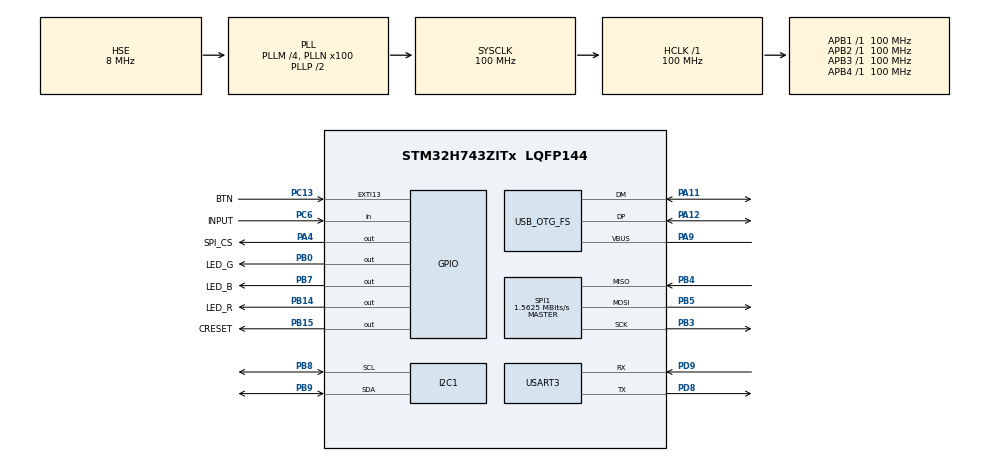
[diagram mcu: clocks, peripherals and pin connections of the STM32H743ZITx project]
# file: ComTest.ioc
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CORTEX_M7.default_mode_Activation=1
Dma.Request0=USART3_RX
Dma.Request1=USART3_TX
Dma.USART3_RX.0.Direction=DMA_PERIPH_TO_MEMORY
Dma.USART3_RX.0.EventEnable=DISABLE
Dma.USART3_RX.0.FIFOMode=DMA_FIFOMODE_DISABLE
Dma.USART3_RX.0.Instance=DMA1_Stream0
Dma.USART3_RX.0.MemDataAlignment=DMA_MDATAALIGN_BYTE
Dma.USART3_RX.0.MemInc=DMA_MINC_ENABLE
Dma.USART3_RX.0.Mode=DMA_NORMAL
Dma.USART3_RX.0.PeriphDataAlignment=DMA_PDATAALIGN_BYTE
Dma.USART3_RX.0.PeriphInc=DMA_PINC_DISABLE
Dma.USART3_RX.0.Polarity=HAL_DMAMUX_REQ_GEN_RISING
Dma.USART3_RX.0.Priority=DMA_PRIORITY_LOW
Dma.USART3_RX.0.RequestNumber=1
Dma.USART3_RX.0.SignalID=NONE
Dma.USART3_RX.0.SyncEnable=DISABLE
Dma.USART3_RX.0.SyncPolarity=HAL_DMAMUX_SYNC_NO_EVENT
Dma.USART3_RX.0.SyncRequestNumber=1
Dma.USART3_RX.0.SyncSignalID=NONE
Dma.USART3_TX.1.Direction=DMA_MEMORY_TO_PERIPH
Dma.USART3_TX.1.EventEnable=DISABLE
Dma.USART3_TX.1.FIFOMode=DMA_FIFOMODE_DISABLE
Dma.USART3_TX.1.Instance=DMA1_Stream1
Dma.USART3_TX.1.MemDataAlignment=DMA_MDATAALIGN_BYTE
Dma.USART3_TX.1.MemInc=DMA_MINC_ENABLE
Dma.USART3_TX.1.Mode=DMA_NORMAL
Dma.USART3_TX.1.PeriphDataAlignment=DMA_PDATAALIGN_BYTE
Dma.USART3_TX.1.PeriphInc=DMA_PINC_DISABLE
Dma.USART3_TX.1.Polarity=HAL_DMAMUX_REQ_GEN_RISING
Dma.USART3_TX.1.Priority=DMA_PRIORITY_LOW
Dma.USART3_TX.1.RequestNumber=1
Dma.USART3_TX.1.SignalID=NONE
Dma.USART3_TX.1.SyncEnable=DISABLE
Dma.USART3_TX.1.SyncPolarity=HAL_DMAMUX_SYNC_NO_EVENT
Dma.USART3_TX.1.SyncRequestNumber=1
Dma.USART3_TX.1.SyncSignalID=NONE
I2C1.Timing=0x10C0ECFF
Mcu.Family=STM32H7
Mcu.Name=STM32H743ZITx
Mcu.Package=LQFP144
NVIC.DMA1_Stream0_IRQn=true\:0\:0\:false\:false\:true\:false\:true\:true
NVIC.DMA1_Stream1_IRQn=true\:0\:0\:false\:false\:true\:false\:true\:true
NVIC.EXTI15_10_IRQn=true\:0\:0\:false\:false\:true\:false\:true\:true
NVIC.OTG_FS_EP1_IN_IRQn=true\:0\:0\:false\:false\:true\:true\:true\:true
NVIC.OTG_FS_EP1_OUT_IRQn=true\:0\:0\:false\:false\:true\:true\:true\:true
NVIC.OTG_FS_IRQn=true\:0\:0\:false\:false\:true\:true\:true\:true
NVIC.PriorityGroup=NVIC_PRIORITYGROUP_4
NVIC.TIM17_IRQn=true\:15\:0\:false\:false\:true\:false\:true\:true
NVIC.TIM2_IRQn=true\:0\:0\:false\:false\:true\:true\:true\:true
NVIC.TimeBase=TIM17_IRQn
NVIC.TimeBaseIP=TIM17
NVIC.USART3_IRQn=true\:0\:0\:false\:false\:true\:true\:true\:true
PA11.Mode=Device_Only
PA11.Signal=USB_OTG_FS_DM
PA12.Mode=Device_Only
PA12.Signal=USB_OTG_FS_DP
PA13\ (JTMS/SWDIO).GPIO_Label=TMS
PA13\ (JTMS/SWDIO).Mode=Serial_Wire
PA13\ (JTMS/SWDIO).Signal=DEBUG_JTMS-SWDIO
PA14\ (JTCK/SWCLK).GPIO_Label=TCK
PA14\ (JTCK/SWCLK).Mode=Serial_Wire
PA14\ (JTCK/SWCLK).Signal=DEBUG_JTCK-SWCLK
PA4.GPIO_Label=SPI_CS
PA4.PinState=GPIO_PIN_SET
PA4.Signal=GPIO_Output
PA9.Mode=Activate_VBUS
PA9.Signal=USB_OTG_FS_VBUS
PB0.GPIO_Label=LED_G
PB0.Signal=GPIO_Output
PB14.GPIO_Label=LED_R
PB14.Signal=GPIO_Output
PB15.GPIO_Label=CRESET
PB15.Signal=GPIO_Output
PB3\ (JTDO/TRACESWO).Mode=Full_Duplex_Master
PB3\ (JTDO/TRACESWO).Signal=SPI1_SCK
PB4\ (NJTRST).Mode=Full_Duplex_Master
PB4\ (NJTRST).Signal=SPI1_MISO
PB5.Mode=Full_Duplex_Master
PB5.Signal=SPI1_MOSI
PB7.GPIO_Label=LED_B
PB7.Signal=GPIO_Output
PB8.Mode=I2C
PB8.Signal=I2C1_SCL
PB9.Mode=I2C
PB9.Signal=I2C1_SDA
PC13.GPIO_Label=BTN
PC13.Signal=GPXTI13
PC14-OSC32_IN\ (OSC32_IN).Signal=RCC_OSC32_IN
PC15-OSC32_OUT\ (OSC32_OUT).Signal=RCC_OSC32_OUT
PC6.GPIO_Label=INPUT
PC6.Signal=GPIO_Input
PD8.Mode=Asynchronous
PD8.Signal=USART3_TX
PD9.Mode=Asynchronous
PD9.Signal=USART3_RX
PH0-OSC_IN\ (PH0).Mode=HSE-External-Clock-Source
PH0-OSC_IN\ (PH0).Signal=RCC_OSC_IN
ProjectManager.HeapSize=0x200
ProjectManager.StackSize=0x400
ProjectManager.TargetToolchain=CMake
RCC.48MHZClocksFreq_Value=24000000
RCC.ADCFreq_Value=100000000
RCC.AHBFreq_Value=216000000
RCC.APB1CLKDivider=RCC_HCLK_DIV4
RCC.APB1Freq_Value=100000000
RCC.APB1TimFreq_Value=108000000
RCC.APB2CLKDivider=RCC_HCLK_DIV2
RCC.APB2Freq_Value=100000000
RCC.APB2TimFreq_Value=216000000
RCC.APB3Freq_Value=100000000
RCC.APB4Freq_Value=100000000
RCC.CortexFreq_Value=100000000
RCC.DIVM1=4
RCC.DIVM2=4
RCC.DIVM3=4
RCC.DIVN1=100
RCC.DIVN2=100
RCC.DIVN3=100
RCC.DIVQ1=4
RCC.HCLKFreq_Value=100000000
RCC.HSE_VALUE=8000000
RCC.HSI_VALUE=64000000
RCC.PLLM=25
RCC.PLLMUL=RCC_PLL_MUL9
RCC.PLLN=432
RCC.PLLQ=9
RCC.PLLSourceVirtual=RCC_PLLSOURCE_HSE
RCC.PRESCALERUSB=RCC_USBCLKSOURCE_PLL_DIV1_5
RCC.PWR_Regulator_Voltage_Scale=PWR_REGULATOR_VOLTAGE_SCALE1
RCC.SYSCLKFreq_VALUE=100000000
RCC.SYSCLKSource=RCC_SYSCLKSOURCE_PLLCLK
RCC.SYSCLKSourceVirtual=RCC_SYSCLKSOURCE_PLLCLK
RCC.USBFreq_Value=50000000
RCC.VCOOutputFreq_Value=432000000
SPI1.BaudRatePrescaler=SPI_BAUDRATEPRESCALER_32
SPI1.CLKPhase=SPI_PHASE_2EDGE
SPI1.CLKPolarity=SPI_POLARITY_HIGH
SPI1.CalculateBaudRate=1.5625 MBits/s
SPI1.DataSize=SPI_DATASIZE_8BIT
SPI1.Direction=SPI_DIRECTION_2LINES
SPI1.Mode=SPI_MODE_MASTER
SPI1.VirtualType=VM_MASTER
USART3.VirtualMode-Asynchronous=VM_ASYNC
USB_OTG_FS.VirtualMode=Device_Only
VP_CRC_VS_CRC.Mode=CRC_Activate
VP_MEMORYMAP_VS_MEMORYMAP.Mode=CurAppReg
VP_RNG_VS_RNG.Mode=RNG_Activate
VP_SYS_VS_tim17.Mode=TIM17
VP_TIM2_VS_ClockSourceINT.Mode=Internal
board=NUCLEO-H743ZI

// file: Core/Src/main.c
/* USER CODE BEGIN Header */
/**
  ******************************************************************************
  * @file           : main.c
  * @brief          : Main program body
  ******************************************************************************
  * @attention
  *
  * Copyright (c) 2026 STMicroelectronics.
  * All rights reserved.
  *
  * This software is licensed under terms that can be found in the LICENSE file
  * in the root directory of this software component.
  * If no LICENSE file comes with this software, it is provided AS-IS.
  *
  ******************************************************************************
  */
/* USER CODE END Header */
#include "main.h"

/* USER CODE BEGIN Includes */
#include "logging.h"
#include "util.h"

#include <stdio.h>

/* USER CODE END Includes */

CRC_HandleTypeDef hcrc;

I2C_HandleTypeDef hi2c1;

RNG_HandleTypeDef hrng;

SPI_HandleTypeDef hspi1;

TIM_HandleTypeDef htim2;

UART_HandleTypeDef huart3;
DMA_HandleTypeDef hdma_usart3_rx;
DMA_HandleTypeDef hdma_usart3_tx;

PCD_HandleTypeDef hpcd_USB_OTG_FS;

void SystemClock_Config(void);
static void MPU_Config(void);
static void MX_GPIO_Init(void);
static void MX_DMA_Init(void);
static void MX_CRC_Init(void);
static void MX_RNG_Init(void);
static void MX_USART3_UART_Init(void);
static void MX_I2C1_Init(void);
static void MX_SPI1_Init(void);
static void MX_USB_OTG_FS_PCD_Init(void);
static void MX_TIM2_Init(void);

int main(void)
{

  /* MPU Configuration--------------------------------------------------------*/
  MPU_Config();

  /* MCU Configuration--------------------------------------------------------*/

  /* Reset of all peripherals, Initializes the Flash interface and the Systick. */
  HAL_Init();

  /* Configure the system clock */
  SystemClock_Config();

  /* Initialize all configured peripherals */
  MX_GPIO_Init();
  MX_DMA_Init();
  MX_CRC_Init();
  MX_RNG_Init();
  MX_USART3_UART_Init();
  MX_I2C1_Init();
  MX_SPI1_Init();
  MX_USB_OTG_FS_PCD_Init();
  MX_TIM2_Init();
  /* USER CODE BEGIN 2 */
  Delay_Init();
  init_dma_logging();
  printf("\033c");
  printf("Communication Protocol Demo\r\n");
  printf("Version: %s\r\n", FW_VERSION_STRING);
  printf("CPU Clock Frequency: %lu MHz\r\n\r\n", HAL_RCC_GetSysClockFreq() / 1000000);

  /* USER CODE END 2 */

  /* Infinite loop */
  while (1)
  {

    /* USER CODE BEGIN 3 */
    HAL_GPIO_TogglePin(LED_G_GPIO_Port, LED_G_Pin);
    HAL_Delay(250);
  }
  /* USER CODE END 3 */
}

void SystemClock_Config(void)
{
  RCC_OscInitTypeDef RCC_OscInitStruct = {0};
  RCC_ClkInitTypeDef RCC_ClkInitStruct = {0};

  /** Supply configuration update enable
  */
  HAL_PWREx_ConfigSupply(PWR_LDO_SUPPLY);

  /** Configure the main internal regulator output voltage
  */
  __HAL_PWR_VOLTAGESCALING_CONFIG(PWR_REGULATOR_VOLTAGE_SCALE1);

  while(!__HAL_PWR_GET_FLAG(PWR_FLAG_VOSRDY)) {}

  /** Initializes the RCC Oscillators according to the specified parameters
  * in the RCC_OscInitTypeDef structure.
  */
  RCC_OscInitStruct.OscillatorType = RCC_OSCILLATORTYPE_HSI48|RCC_OSCILLATORTYPE_HSE;
  RCC_OscInitStruct.HSEState = RCC_HSE_BYPASS;
  RCC_OscInitStruct.HSI48State = RCC_HSI48_ON;
  RCC_OscInitStruct.PLL.PLLState = RCC_PLL_ON;
  RCC_OscInitStruct.PLL.PLLSource = RCC_PLLSOURCE_HSE;
  RCC_OscInitStruct.PLL.PLLM = 4;
  RCC_OscInitStruct.PLL.PLLN = 100;
  RCC_OscInitStruct.PLL.PLLP = 2;
  RCC_OscInitStruct.PLL.PLLQ = 4;
  RCC_OscInitStruct.PLL.PLLR = 2;
  RCC_OscInitStruct.PLL.PLLRGE = RCC_PLL1VCIRANGE_1;
  RCC_OscInitStruct.PLL.PLLVCOSEL = RCC_PLL1VCOWIDE;
  RCC_OscInitStruct.PLL.PLLFRACN = 0;
  if (HAL_RCC_OscConfig(&RCC_OscInitStruct) != HAL_OK)
  {
    Error_Handler();
  }

  /** Initializes the CPU, AHB and APB buses clocks
  */
  RCC_ClkInitStruct.ClockType = RCC_CLOCKTYPE_HCLK|RCC_CLOCKTYPE_SYSCLK
                              |RCC_CLOCKTYPE_PCLK1|RCC_CLOCKTYPE_PCLK2
                              |RCC_CLOCKTYPE_D3PCLK1|RCC_CLOCKTYPE_D1PCLK1;
  RCC_ClkInitStruct.SYSCLKSource = RCC_SYSCLKSOURCE_PLLCLK;
  RCC_ClkInitStruct.SYSCLKDivider = RCC_SYSCLK_DIV1;
  RCC_ClkInitStruct.AHBCLKDivider = RCC_HCLK_DIV1;
  RCC_ClkInitStruct.APB3CLKDivider = RCC_APB3_DIV1;
  RCC_ClkInitStruct.APB1CLKDivider = RCC_APB1_DIV1;
  RCC_ClkInitStruct.APB2CLKDivider = RCC_APB2_DIV1;
  RCC_ClkInitStruct.APB4CLKDivider = RCC_APB4_DIV1;

  if (HAL_RCC_ClockConfig(&RCC_ClkInitStruct, FLASH_LATENCY_1) != HAL_OK)
  {
    Error_Handler();
  }
}

static void MX_CRC_Init(void)
{

  hcrc.Instance = CRC;
  hcrc.Init.DefaultPolynomialUse = DEFAULT_POLYNOMIAL_ENABLE;
  hcrc.Init.DefaultInitValueUse = DEFAULT_INIT_VALUE_ENABLE;
  hcrc.Init.InputDataInversionMode = CRC_INPUTDATA_INVERSION_NONE;
  hcrc.Init.OutputDataInversionMode = CRC_OUTPUTDATA_INVERSION_DISABLE;
  hcrc.InputDataFormat = CRC_INPUTDATA_FORMAT_BYTES;
  if (HAL_CRC_Init(&hcrc) != HAL_OK)
  {
    Error_Handler();
  }

}

static void MX_I2C1_Init(void)
{

  hi2c1.Instance = I2C1;
  hi2c1.Init.Timing = 0x10C0ECFF;
  hi2c1.Init.OwnAddress1 = 0;
  hi2c1.Init.AddressingMode = I2C_ADDRESSINGMODE_7BIT;
  hi2c1.Init.DualAddressMode = I2C_DUALADDRESS_DISABLE;
  hi2c1.Init.OwnAddress2 = 0;
  hi2c1.Init.OwnAddress2Masks = I2C_OA2_NOMASK;
  hi2c1.Init.GeneralCallMode = I2C_GENERALCALL_DISABLE;
  hi2c1.Init.NoStretchMode = I2C_NOSTRETCH_DISABLE;
  if (HAL_I2C_Init(&hi2c1) != HAL_OK)
  {
    Error_Handler();
  }

  /** Configure Analogue filter
  */
  if (HAL_I2CEx_ConfigAnalogFilter(&hi2c1, I2C_ANALOGFILTER_ENABLE) != HAL_OK)
  {
    Error_Handler();
  }

  /** Configure Digital filter
  */
  if (HAL_I2CEx_ConfigDigitalFilter(&hi2c1, 0) != HAL_OK)
  {
    Error_Handler();
  }

}

static void MX_RNG_Init(void)
{

  hrng.Instance = RNG;
  hrng.Init.ClockErrorDetection = RNG_CED_ENABLE;
  if (HAL_RNG_Init(&hrng) != HAL_OK)
  {
    Error_Handler();
  }

}

static void MX_SPI1_Init(void)
{

  /* SPI1 parameter configuration*/
  hspi1.Instance = SPI1;
  hspi1.Init.Mode = SPI_MODE_MASTER;
  hspi1.Init.Direction = SPI_DIRECTION_2LINES;
  hspi1.Init.DataSize = SPI_DATASIZE_8BIT;
  hspi1.Init.CLKPolarity = SPI_POLARITY_HIGH;
  hspi1.Init.CLKPhase = SPI_PHASE_2EDGE;
  hspi1.Init.NSS = SPI_NSS_SOFT;
  hspi1.Init.BaudRatePrescaler = SPI_BAUDRATEPRESCALER_32;
  hspi1.Init.FirstBit = SPI_FIRSTBIT_MSB;
  hspi1.Init.TIMode = SPI_TIMODE_DISABLE;
  hspi1.Init.CRCCalculation = SPI_CRCCALCULATION_DISABLE;
  hspi1.Init.CRCPolynomial = 0x0;
  hspi1.Init.NSSPMode = SPI_NSS_PULSE_ENABLE;
  hspi1.Init.NSSPolarity = SPI_NSS_POLARITY_LOW;
  hspi1.Init.FifoThreshold = SPI_FIFO_THRESHOLD_01DATA;
  hspi1.Init.TxCRCInitializationPattern = SPI_CRC_INITIALIZATION_ALL_ZERO_PATTERN;
  hspi1.Init.RxCRCInitializationPattern = SPI_CRC_INITIALIZATION_ALL_ZERO_PATTERN;
  hspi1.Init.MasterSSIdleness = SPI_MASTER_SS_IDLENESS_00CYCLE;
  hspi1.Init.MasterInterDataIdleness = SPI_MASTER_INTERDATA_IDLENESS_00CYCLE;
  hspi1.Init.MasterReceiverAutoSusp = SPI_MASTER_RX_AUTOSUSP_DISABLE;
  hspi1.Init.MasterKeepIOState = SPI_MASTER_KEEP_IO_STATE_DISABLE;
  hspi1.Init.IOSwap = SPI_IO_SWAP_DISABLE;
  if (HAL_SPI_Init(&hspi1) != HAL_OK)
  {
    Error_Handler();
  }

}

static void MX_TIM2_Init(void)
{

  TIM_ClockConfigTypeDef sClockSourceConfig = {0};
  TIM_MasterConfigTypeDef sMasterConfig = {0};

  htim2.Instance = TIM2;
  htim2.Init.Prescaler = 0;
  htim2.Init.CounterMode = TIM_COUNTERMODE_UP;
  htim2.Init.Period = 4294967295;
  htim2.Init.ClockDivision = TIM_CLOCKDIVISION_DIV1;
  htim2.Init.AutoReloadPreload = TIM_AUTORELOAD_PRELOAD_DISABLE;
  if (HAL_TIM_Base_Init(&htim2) != HAL_OK)
  {
    Error_Handler();
  }
  sClockSourceConfig.ClockSource = TIM_CLOCKSOURCE_INTERNAL;
  if (HAL_TIM_ConfigClockSource(&htim2, &sClockSourceConfig) != HAL_OK)
  {
    Error_Handler();
  }
  sMasterConfig.MasterOutputTrigger = TIM_TRGO_RESET;
  sMasterConfig.MasterSlaveMode = TIM_MASTERSLAVEMODE_DISABLE;
  if (HAL_TIMEx_MasterConfigSynchronization(&htim2, &sMasterConfig) != HAL_OK)
  {
    Error_Handler();
  }

}

static void MX_USART3_UART_Init(void)
{

  huart3.Instance = USART3;
  huart3.Init.BaudRate = 115200;
  huart3.Init.WordLength = UART_WORDLENGTH_8B;
  huart3.Init.StopBits = UART_STOPBITS_1;
  huart3.Init.Parity = UART_PARITY_NONE;
  huart3.Init.Mode = UART_MODE_TX_RX;
  huart3.Init.HwFlowCtl = UART_HWCONTROL_NONE;
  huart3.Init.OverSampling = UART_OVERSAMPLING_16;
  huart3.Init.OneBitSampling = UART_ONE_BIT_SAMPLE_DISABLE;
  huart3.Init.ClockPrescaler = UART_PRESCALER_DIV1;
  huart3.AdvancedInit.AdvFeatureInit = UART_ADVFEATURE_NO_INIT;
  if (HAL_UART_Init(&huart3) != HAL_OK)
  {
    Error_Handler();
  }
  if (HAL_UARTEx_SetTxFifoThreshold(&huart3, UART_TXFIFO_THRESHOLD_1_8) != HAL_OK)
  {
    Error_Handler();
  }
  if (HAL_UARTEx_SetRxFifoThreshold(&huart3, UART_RXFIFO_THRESHOLD_1_8) != HAL_OK)
  {
    Error_Handler();
  }
  if (HAL_UARTEx_DisableFifoMode(&huart3) != HAL_OK)
  {
    Error_Handler();
  }

}

static void MX_USB_OTG_FS_PCD_Init(void)
{

  hpcd_USB_OTG_FS.Instance = USB_OTG_FS;
  hpcd_USB_OTG_FS.Init.dev_endpoints = 9;
  hpcd_USB_OTG_FS.Init.speed = PCD_SPEED_FULL;
  hpcd_USB_OTG_FS.Init.dma_enable = DISABLE;
  hpcd_USB_OTG_FS.Init.phy_itface = PCD_PHY_EMBEDDED;
  hpcd_USB_OTG_FS.Init.Sof_enable = DISABLE;
  hpcd_USB_OTG_FS.Init.low_power_enable = DISABLE;
  hpcd_USB_OTG_FS.Init.lpm_enable = DISABLE;
  hpcd_USB_OTG_FS.Init.battery_charging_enable = ENABLE;
  hpcd_USB_OTG_FS.Init.vbus_sensing_enable = ENABLE;
  hpcd_USB_OTG_FS.Init.use_dedicated_ep1 = DISABLE;
  if (HAL_PCD_Init(&hpcd_USB_OTG_FS) != HAL_OK)
  {
    Error_Handler();
  }

}

static void MX_DMA_Init(void)
{

  /* DMA controller clock enable */
  __HAL_RCC_DMA1_CLK_ENABLE();

  /* DMA interrupt init */
  /* DMA1_Stream0_IRQn interrupt configuration */
  HAL_NVIC_SetPriority(DMA1_Stream0_IRQn, 0, 0);
  HAL_NVIC_EnableIRQ(DMA1_Stream0_IRQn);
  /* DMA1_Stream1_IRQn interrupt configuration */
  HAL_NVIC_SetPriority(DMA1_Stream1_IRQn, 0, 0);
  HAL_NVIC_EnableIRQ(DMA1_Stream1_IRQn);

}

static void MX_GPIO_Init(void)
{
  GPIO_InitTypeDef GPIO_InitStruct = {0};

  /* GPIO Ports Clock Enable */
  __HAL_RCC_GPIOC_CLK_ENABLE();
  __HAL_RCC_GPIOH_CLK_ENABLE();
  __HAL_RCC_GPIOA_CLK_ENABLE();
  __HAL_RCC_GPIOB_CLK_ENABLE();
  __HAL_RCC_GPIOD_CLK_ENABLE();

  /*Configure GPIO pin Output Level */
  HAL_GPIO_WritePin(SPI_CS_GPIO_Port, SPI_CS_Pin, GPIO_PIN_SET);

  /*Configure GPIO pin Output Level */
  HAL_GPIO_WritePin(GPIOB, LED_G_Pin|LED_R_Pin|CRESET_Pin|LED_B_Pin, GPIO_PIN_RESET);

  /*Configure GPIO pin : BTN_Pin */
  GPIO_InitStruct.Pin = BTN_Pin;
  GPIO_InitStruct.Mode = GPIO_MODE_IT_RISING;
  GPIO_InitStruct.Pull = GPIO_NOPULL;
  HAL_GPIO_Init(BTN_GPIO_Port, &GPIO_InitStruct);

  /*Configure GPIO pin : SPI_CS_Pin */
  GPIO_InitStruct.Pin = SPI_CS_Pin;
  GPIO_InitStruct.Mode = GPIO_MODE_OUTPUT_PP;
  GPIO_InitStruct.Pull = GPIO_NOPULL;
  GPIO_InitStruct.Speed = GPIO_SPEED_FREQ_LOW;
  HAL_GPIO_Init(SPI_CS_GPIO_Port, &GPIO_InitStruct);

  /*Configure GPIO pins : LED_G_Pin LED_R_Pin CRESET_Pin LED_B_Pin */
  GPIO_InitStruct.Pin = LED_G_Pin|LED_R_Pin|CRESET_Pin|LED_B_Pin;
  GPIO_InitStruct.Mode = GPIO_MODE_OUTPUT_PP;
  GPIO_InitStruct.Pull = GPIO_NOPULL;
  GPIO_InitStruct.Speed = GPIO_SPEED_FREQ_LOW;
  HAL_GPIO_Init(GPIOB, &GPIO_InitStruct);

  /*Configure GPIO pin : INPUT_Pin */
  GPIO_InitStruct.Pin = INPUT_Pin;
  GPIO_InitStruct.Mode = GPIO_MODE_INPUT;
  GPIO_InitStruct.Pull = GPIO_NOPULL;
  HAL_GPIO_Init(INPUT_GPIO_Port, &GPIO_InitStruct);

  /* EXTI interrupt init*/
  HAL_NVIC_SetPriority(BTN_EXTI_IRQn, 0, 0);
  HAL_NVIC_EnableIRQ(BTN_EXTI_IRQn);

}

/* USER CODE BEGIN 4 */
void HAL_UART_RxCpltCallback(UART_HandleTypeDef *huart)
{
}

void HAL_UART_TxCpltCallback(UART_HandleTypeDef *huart)
{
  if (huart->Instance == USART3)
  {
    logging_UART_TxCpltCallback(huart);
  }
}

/* USER CODE END 4 */

 /* MPU Configuration */

void MPU_Config(void)
{
  MPU_Region_InitTypeDef MPU_InitStruct = {0};

  /* Disables the MPU */
  HAL_MPU_Disable();

  /** Initializes and configures the Region and the memory to be protected
  */
  MPU_InitStruct.Enable = MPU_REGION_ENABLE;
  MPU_InitStruct.Number = MPU_REGION_NUMBER0;
  MPU_InitStruct.BaseAddress = 0x0;
  MPU_InitStruct.Size = MPU_REGION_SIZE_4GB;
  MPU_InitStruct.SubRegionDisable = 0x87;
  MPU_InitStruct.TypeExtField = MPU_TEX_LEVEL0;
  MPU_InitStruct.AccessPermission = MPU_REGION_NO_ACCESS;
  MPU_InitStruct.DisableExec = MPU_INSTRUCTION_ACCESS_DISABLE;
  MPU_InitStruct.IsShareable = MPU_ACCESS_SHAREABLE;
  MPU_InitStruct.IsCacheable = MPU_ACCESS_NOT_CACHEABLE;
  MPU_InitStruct.IsBufferable = MPU_ACCESS_NOT_BUFFERABLE;

  HAL_MPU_ConfigRegion(&MPU_InitStruct);
  /* Enables the MPU */
  HAL_MPU_Enable(MPU_PRIVILEGED_DEFAULT);

}

void HAL_TIM_PeriodElapsedCallback(TIM_HandleTypeDef *htim)
{
  if (htim->Instance == TIM17)
  {
    HAL_IncTick();
  }
}

void Error_Handler(void)
{
  __disable_irq();
  while (1)
  {
  }
}
